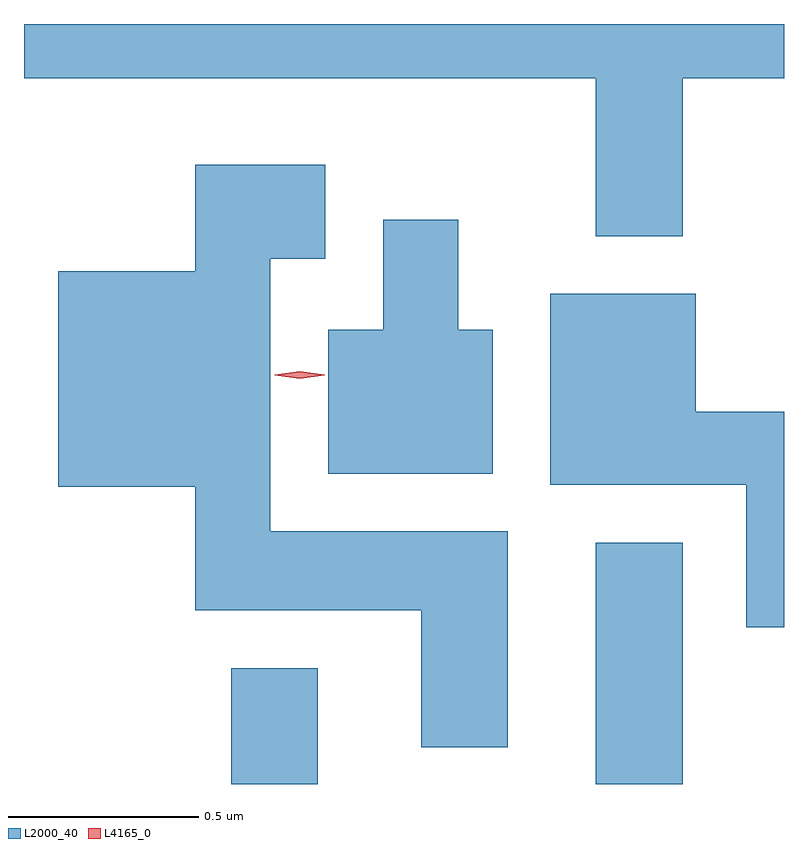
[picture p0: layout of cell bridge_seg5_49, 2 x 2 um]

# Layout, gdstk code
import gdstk
lib = gdstk.Library(unit=1e-6, precision=1e-09)
def R(c, l, rs):  # rectangles x0, y0, x1, y1
    for r in rs: c.add(gdstk.rectangle(r[:2], r[2:], *l))
def P(c, l, *ps):  # polygons
    for p in ps: c.add(gdstk.Polygon(p, *l))
L2000_40 = (2000, 40)
L4165_0 = (4165, 0)

bridge_seg5_49 = lib.new_cell('bridge_seg5_49')
R(bridge_seg5_49, L2000_40, [(1334.641,1488.239,1334.869,1488.544), (1335.601,1488.239,1335.829,1488.874)])
P(bridge_seg5_49, L2000_40, [(1335.829,1490.096),(1336.096,1490.096),(1336.096,1490.239),(1334.096,1490.239),(1334.096,1490.096),(1335.601,1490.096),(1335.601,1489.681),(1335.829,1489.681)],
  [(1335.369,1488.904),(1334.744,1488.904),(1334.744,1489.621),(1334.889,1489.621),(1334.889,1489.869),(1334.546,1489.869),(1334.546,1489.589),(1334.186,1489.589),(1334.186,1489.021),(1334.546,1489.021),(1334.546,1488.696),(1335.141,1488.696),(1335.141,1488.336),(1335.369,1488.336)],
  [(1335.329,1489.434),(1335.239,1489.434),(1335.239,1489.724),(1335.041,1489.724),(1335.041,1489.434),(1334.896,1489.434),(1334.896,1489.056),(1335.329,1489.056)],
  [(1336.096,1489.219),(1335.864,1489.219),(1335.864,1489.529),(1335.481,1489.529),(1335.481,1489.026),(1335.996,1489.026),(1335.996,1488.651),(1336.096,1488.651)])
P(bridge_seg5_49, L4165_0, [(1334.822,1489.305),(1334.756,1489.315),(1334.756,1489.315),(1334.756,1489.316),(1334.822,1489.325),(1334.888,1489.316),(1334.888,1489.315),(1334.888,1489.315)])

lib.write_gds('bridge_seg5_49.gds')
